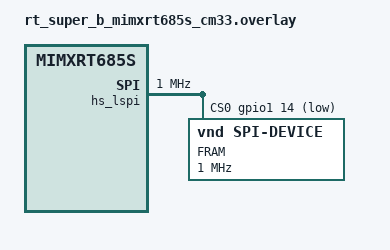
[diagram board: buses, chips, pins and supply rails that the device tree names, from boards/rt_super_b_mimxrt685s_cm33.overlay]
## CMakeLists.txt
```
# SPDX-License-Identifier: Apache-2.0

cmake_minimum_required(VERSION 3.20.0)

find_package(Zephyr REQUIRED HINTS $ENV{ZEPHYR_BASE})
project(hello_world)

target_sources(app PRIVATE src/main.c
                            src/fram.c)
```

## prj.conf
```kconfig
# nothing here
CONFIG_SPI=y

CONFIG_LOG=y

CONFIG_USE_SEGGER_RTT=y
CONFIG_CONSOLE=y
CONFIG_SHELL=y


#RTT Shell
CONFIG_UART_CONSOLE=n
CONFIG_RTT_CONSOLE=y
CONFIG_USE_SEGGER_RTT=y
CONFIG_SHELL_BACKEND_RTT=y



CONFIG_SPI_LOG_LEVEL_DBG=y
```

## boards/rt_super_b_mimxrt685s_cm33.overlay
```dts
&hs_lspi {
    status = "okay";
	pinctrl-0 = <&hs_lspi_default>;
	pinctrl-names = "default";
	clock-frequency = <1000000>;
	cs-gpios = <&gpio1 14 GPIO_ACTIVE_LOW>;

	fram: fram@0 {
        compatible = "vnd,spi-device";
        reg = <0>;
        spi-max-frequency = <1000000>;
        label = "FRAM";
        status = "okay";
    };
};

 

&pinctrl {

    pinmux_flexspi: pinmux_flexspi {
		group0 {
			pinmux = <FLEXSPI0A_SCLK_PIO1_18>,
					<FLEXSPI0A_SS0_N_PIO1_19>,
					<FLEXSPI0A_DATA0_PIO1_20>,
					<FLEXSPI0A_DATA1_PIO1_21>,
					<FLEXSPI0A_DATA2_PIO1_22>,
					<FLEXSPI0A_DATA3_PIO1_23>;
			input-enable;
			slew-rate = "normal";
			drive-strength = "high";
		};
    };

	hs_lspi_default: hs_lspi_default {
		group0 {
			pinmux = <HS_SPI_SCK_PIO1_11>,
					<HS_SPI_MISO_PIO1_12>,
					<HS_SPI_MOSI_PIO1_13>;
					//<HS_SPI_SSEL0_PIO1_14>;

			//pinmux = <FC14_SCK_PIO1_11>,
			//		<FC14_TXD_SCL_MISO_WS_PIO1_12>,
			//		<FC14_RXD_SDA_MOSI_DATA_PIO1_13>;

			input-enable;
			slew-rate = "normal";
			drive-strength = "high";
		};
	};
};

/*

#include <zephyr/dt-bindings/mipi_dbi/mipi_dbi.h>

/ {
	chosen {
		zephyr,display = &st7789v_st7789v_waveshare_240x240;
	};

	mipi_dbi_st7789v_waveshare_240x240 {
		compatible = "zephyr,mipi-dbi-spi";
		spi-dev = <&arduino_spi>;
		dc-gpios = <&arduino_header 15 GPIO_ACTIVE_HIGH>;	
		reset-gpios = <&arduino_header 14 GPIO_ACTIVE_LOW>;	
		write-only;
		#address-cells = <1>;
		#size-cells = <0>;

		st7789v_st7789v_waveshare_240x240: st7789v@0 {
			compatible = "sitronix,st7789v";
			mipi-max-frequency = <20000000>;
			reg = <0>;
			width = <240>;
			height = <240>;
			x-offset = <0>;
			y-offset = <0>;
			vcom = <0x19>;
			gctrl = <0x35>;
			vrhs = <0x12>;
			vdvs = <0x20>;
			mdac = <0x00>;
			gamma = <0x01>;
			colmod = <0x05>;
			lcm = <0x2c>;
			porch-param = [0c 0c 00 33 33];
			cmd2en-param = [5a 69 02 01];
			pwctrl1-param = [a4 a1];
			pvgam-param = [D0 04 0D 11 13 2B 3F 54 4C 18 0D 0B 1F 23];
			nvgam-param = [D0 04 0C 11 13 2C 3F 44 51 2F 1F 1F 20 23];
			ram-param = [00 F0];
			rgb-param = [CD 08 14];
			mipi-mode = "MIPI_DBI_MODE_SPI_4WIRE";
		};
	};
};

&arduino_spi {
	status = "okay";
	cs-gpios = <&arduino_header 16 GPIO_ACTIVE_LOW>;	
};
*/
```

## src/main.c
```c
/*
 * Copyright (c) 2012-2014 Wind River Systems, Inc.
 *
 * SPDX-License-Identifier: Apache-2.0
 */

#include <stdio.h>
#include <zephyr/kernel.h>
#include <zephyr/logging/log.h>
#include "fram.h"
#include <zephyr/usb/usb_device.h>

LOG_MODULE_REGISTER(main);


int prev_init()
{
	CLOCK_AttachClk(kFFRO_to_FLEXCOMM14);
	return 0;
}

SYS_INIT(prev_init, PRE_KERNEL_1, 0);

int main(void)
{
	int8_t ret;
	LOG_INF("Hello FRAM bringup! %s\n", CONFIG_BOARD_TARGET);

	ret = fram__init();

		if (ret == 0)
		{
			LOG_INF("FRAM initialization correct\n");
		}
		else
		{
			LOG_ERR("FRAM initialization failed\n");
		}
		
	while(1)
	{
	

		k_sleep(K_MSEC(500));
	}

	return 0;
}
```

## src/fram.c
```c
#include "fram.h"
#include <zephyr/drivers/spi.h>
#include <zephyr/logging/log.h>

#include <stdio.h>
#include <stdlib.h>

#define FRAME_SIZE (8)
#define SPI_OP(frame_size) (SPI_OP_MODE_MASTER | SPI_MODE_CPOL | \
	       SPI_MODE_CPHA | SPI_WORD_SET(frame_size) | SPI_LINES_SINGLE)

struct spi_dt_spec fram_spi = SPI_DT_SPEC_GET(DT_NODELABEL(fram), SPI_OP(FRAME_SIZE), 0);

uint8_t write_en [1] = {FRAM_WREN}; // Write Enable command
uint8_t read_sr [2] = {FRAM_RDSR, 0XFF};

uint8_t write_op [3] = {FRAM_WRITE, 0x00, 0x00};        
uint8_t read_op [3] = {FRAM_READ, 0x00, 0x00};    


LOG_MODULE_REGISTER(fram);

#define FRAM_SIZE             (2048*8)     //2kb
#define FRAM_TEST_CHUNK_SIZE  8 
uint8_t write_data[FRAM_TEST_CHUNK_SIZE] = {0xf1, 0xf2, 0xf3, 0xf4, 0xf5, 0xf6, 0xf7, 0xf8}; // Example data to write
uint8_t read_data[FRAM_TEST_CHUNK_SIZE+3] = {0};

int8_t fram__init(void)
{
    if(!spi_is_ready_dt(&fram_spi))
	{
		LOG_ERR("SPI bus is not ready");
		return -1;
	}

    for(int iter=0;iter<256;iter++)
    {
        LOG_INF("test iteration %d\r\n",iter);

        for(int c=0; c<(FRAM_SIZE/FRAM_TEST_CHUNK_SIZE); c+=FRAM_TEST_CHUNK_SIZE)
        {
            
            LOG_INF("Checking %d bytes at address 0x%04x",FRAM_TEST_CHUNK_SIZE, c);

        }
        
        for(int c=0; c<(FRAM_SIZE/FRAM_TEST_CHUNK_SIZE); c+=FRAM_TEST_CHUNK_SIZE)
        {
            
            LOG_INF("Checking %d bytes at address 0x%04x",FRAM_TEST_CHUNK_SIZE,c);

            for(int i=0;i<FRAM_TEST_CHUNK_SIZE;i++)
            {
                write_data[i] = rand();
            }

            fram__spi_write(write_en, sizeof(write_en));

            fram__write(write_data, sizeof(write_data), c); 
            fram__read(read_data, sizeof(write_data), c);

            if(memcmp(write_data, &read_data[3], sizeof(write_data)) != 0)
            {
                LOG_ERR("Data mismatch after write/read operation at address 0x%04x",c);
                return -1;
            }
            k_sleep(K_MSEC(1));
        }
    }


    LOG_INF("FRAM initialized and test passed.");
    return 0;
}

void fram__spi_write(uint8_t * buffer, uint8_t size)
{
	struct spi_buf tx_bufs[1];

	const struct spi_buf_set tx = {
		.buffers = tx_bufs,
		.count = ARRAY_SIZE(tx_bufs)
	};

	tx_bufs[0].buf = buffer;
	tx_bufs[0].len = size;

	spi_write_dt(&fram_spi, &tx);
}


void fram__spi_write_read(uint8_t * tx_buffer, uint8_t * rx_buffer, uint8_t size_tx, uint8_t size_rx)
{
    struct spi_buf tx_bufs[1];
    struct spi_buf rx_bufs[1];

    const struct spi_buf_set tx = {
        .buffers = tx_bufs,
        .count = ARRAY_SIZE(tx_bufs)
    };

    const struct spi_buf_set rx = {
        .buffers = rx_bufs,
        .count = ARRAY_SIZE(rx_bufs)
    };

    tx_bufs[0].buf = tx_buffer;
    tx_bufs[0].len = size_tx;

    rx_bufs[0].buf = rx_buffer;
    rx_bufs[0].len = size_rx;

    spi_transceive_dt(&fram_spi, &tx, &rx);
}


void fram__write(uint8_t * data, uint8_t size, uint16_t start_address)
{
    struct spi_buf tx_bufs[2];

	const struct spi_buf_set tx = {
		.buffers = tx_bufs,
		.count = ARRAY_SIZE(tx_bufs)
	};

    // Prepare write opcode and start address
    memcpy(&write_op[1], &start_address, sizeof(start_address));
    tx_bufs[0].buf = write_op; 
    tx_bufs[0].len = sizeof(write_op);

    // Prepare data to write
	tx_bufs[1].buf = data;
	tx_bufs[1].len = size;

	spi_write_dt(&fram_spi, &tx);   
}


void fram__read(uint8_t * data, uint8_t size, uint16_t start_address)
{
    struct spi_buf tx_bufs[1];
    struct spi_buf rx_bufs[1];

    uint32_t op_size = sizeof(read_op) + size;

    const struct spi_buf_set tx = {
        .buffers = tx_bufs,
        .count = ARRAY_SIZE(tx_bufs)
    };

    const struct spi_buf_set rx = {
        .buffers = rx_bufs,
        .count = ARRAY_SIZE(rx_bufs)
    };

    // Prepare read opcode and start address
    memcpy(&read_op[1], &start_address, sizeof(start_address));
    tx_bufs[0].buf = read_op;
    tx_bufs[0].len = op_size;

    // Prepare buffer for reading data
    rx_bufs[0].buf = data;
    rx_bufs[0].len = op_size;

    spi_transceive_dt(&fram_spi, &tx, &rx);
}
```

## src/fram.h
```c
#ifndef FRAM_H
#define FRAM_H

#include <zephyr/kernel.h>


#define FRAM_WREN   0x06
#define FRAM_RDSR   0x05
#define FRAM_WRSR   0x01
#define FRAM_READ   0x03
#define FRAM_WRITE  0x02

void fram__spi_read(uint8_t * buffer, uint8_t size);
void fram__spi_write(uint8_t * buffer, uint8_t size);
void fram__spi_write_read(uint8_t * tx_buffer, uint8_t * rx_buffer, uint8_t size_tx, uint8_t size_rx);

void fram__write(uint8_t * data, uint8_t size, uint16_t start_address);
void fram__read(uint8_t * data, uint8_t size, uint16_t start_address);


int8_t fram__init(void);

#endif
```
